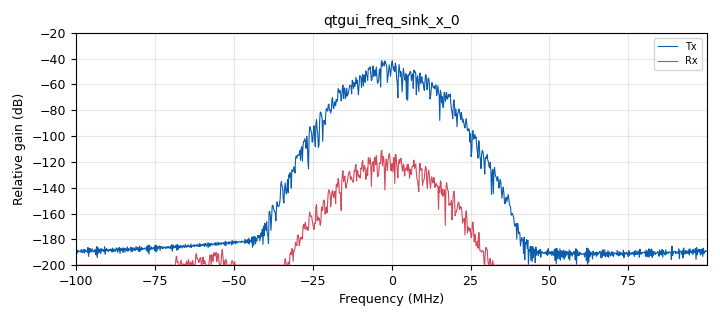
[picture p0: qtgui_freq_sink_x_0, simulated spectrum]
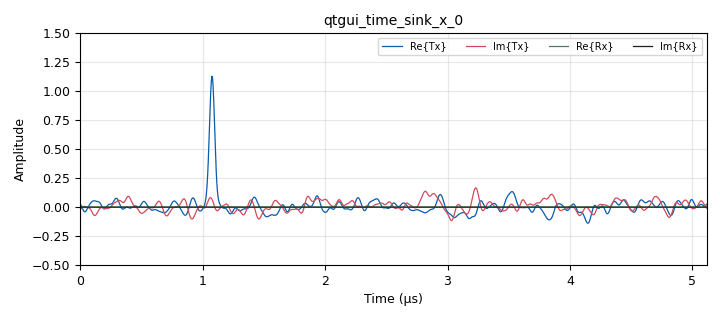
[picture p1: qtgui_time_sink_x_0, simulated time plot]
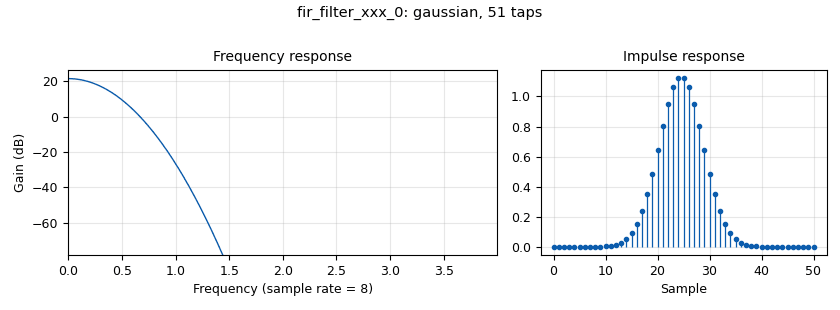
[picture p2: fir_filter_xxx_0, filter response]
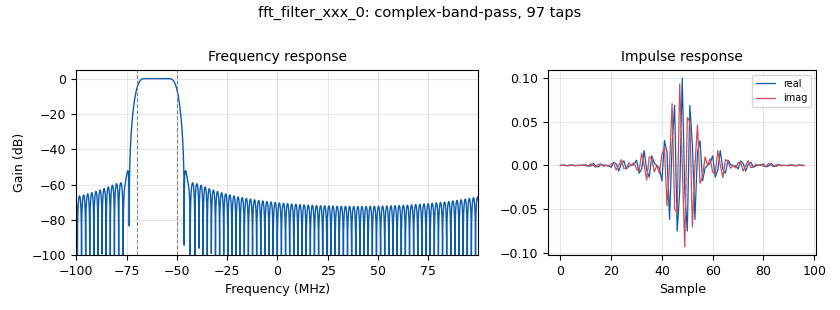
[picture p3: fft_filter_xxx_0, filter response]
<?xml version='1.0' encoding='utf-8'?>
<?grc format='1' created='3.7.7'?>
<flow_graph>
<block>
<key>options</key>
<param><key>id</key><value>impulse_receiver</value></param>
<param><key>generate_options</key><value>qt_gui</value></param>
<param><key>category</key><value>Custom</value></param>
</block>
<block>
<key>variable</key>
<param><key>id</key><value>samp_rate</value></param>
<param><key>value</key><value>200e6</value></param>
</block>
<block>
<key>variable</key>
<param><key>id</key><value>transition</value></param>
<param><key>value</key><value>5e6</value></param>
</block>
<block>
<key>variable</key>
<param><key>id</key><value>ntaps</value></param>
<param><key>value</key><value>len(rx_taps)</value></param>
</block>
<block>
<key>variable</key>
<param><key>id</key><value>rx_taps</value></param>
<param><key>value</key><value>firdes.complex_band_pass(1, samp_rate, center_freq-bandwidth/2.0, center_freq+bandwidth/2.0, transition)</value></param>
</block>
<block>
<key>variable</key>
<param><key>id</key><value>bandwidth</value></param>
<param><key>value</key><value>20e6</value></param>
</block>
<block>
<key>blocks_vector_source_x</key>
<param><key>id</key><value>blocks_vector_source_x_0</value></param>
<param><key>type</key><value>complex</value></param>
<param><key>vector</key><value>511*[0,] + [1,] + 512*[0,]</value></param>
<param><key>repeat</key><value>True</value></param>
</block>
<block>
<key>analog_fastnoise_source_x</key>
<param><key>id</key><value>analog_fastnoise_source_x_0</value></param>
<param><key>type</key><value>complex</value></param>
<param><key>noise_type</key><value>analog.GR_GAUSSIAN</value></param>
<param><key>amp</key><value>0.02</value></param>
<param><key>seed</key><value>0</value></param>
<param><key>samples</key><value>8192</value></param>
</block>
<block>
<key>blocks_add_xx</key>
<param><key>id</key><value>blocks_add_xx_0</value></param>
<param><key>type</key><value>complex</value></param>
</block>
<block>
<key>qtgui_freq_sink_x</key>
<param><key>id</key><value>qtgui_freq_sink_x_0</value></param>
<param><key>type</key><value>complex</value></param>
<param><key>fftsize</key><value>1024</value></param>
<param><key>wintype</key><value>firdes.WIN_BLACKMAN_hARRIS</value></param>
<param><key>fc</key><value>0</value></param>
<param><key>bw</key><value>samp_rate</value></param>
<param><key>ymin</key><value>-200</value></param>
<param><key>ymax</key><value>-20</value></param>
<param><key>nconnections</key><value>2</value></param>
<param><key>update_time</key><value>0.01</value></param>
<param><key>showports</key><value>True</value></param>
<param><key>label1</key><value>Tx</value></param>
<param><key>label2</key><value>Rx</value></param>
</block>
<block>
<key>qtgui_time_sink_x</key>
<param><key>id</key><value>qtgui_time_sink_x_0</value></param>
<param><key>type</key><value>complex</value></param>
<param><key>size</key><value>1024</value></param>
<param><key>srate</key><value>samp_rate</value></param>
<param><key>ymin</key><value>-0.5</value></param>
<param><key>ymax</key><value>1.5</value></param>
<param><key>nconnections</key><value>2</value></param>
<param><key>update_time</key><value>0.01</value></param>
<param><key>tr_delay</key><value>0.0</value></param>
<param><key>label1</key><value>Re{Tx}</value></param>
<param><key>color1</key><value>"blue"</value></param>
<param><key>label2</key><value>Im{Tx}</value></param>
<param><key>color2</key><value>"red"</value></param>
<param><key>label3</key><value>Re{Rx}</value></param>
<param><key>color3</key><value>"green"</value></param>
<param><key>label4</key><value>Im{Rx}</value></param>
<param><key>color4</key><value>"cyan"</value></param>
</block>
<block>
<key>variable_qtgui_range</key>
<param><key>id</key><value>center_freq</value></param>
<param><key>label</key><value>Center Frequency</value></param>
<param><key>value</key><value>-samp_rate/2.0 + 2*bandwidth</value></param>
<param><key>start</key><value>-samp_rate/2.0 + 2*bandwidth</value></param>
<param><key>stop</key><value>samp_rate/2.0 - 2*bandwidth</value></param>
<param><key>step</key><value>samp_rate/100.0</value></param>
<param><key>orient</key><value>Qt.Horizontal</value></param>
</block>
<block>
<key>blocks_throttle</key>
<param><key>id</key><value>blocks_throttle_0</value></param>
<param><key>type</key><value>complex</value></param>
<param><key>samples_per_second</key><value>samp_rate/100.0</value></param>
</block>
<block>
<key>fir_filter_xxx</key>
<param><key>id</key><value>fir_filter_xxx_0</value></param>
<param><key>type</key><value>ccf</value></param>
<param><key>decim</key><value>1</value></param>
<param><key>taps</key><value>firdes.gaussian(12, 8, 0.25, 51)</value></param>
</block>
<block>
<key>fft_filter_xxx</key>
<param><key>id</key><value>fft_filter_xxx_0</value></param>
<param><key>type</key><value>ccc</value></param>
<param><key>decim</key><value>1</value></param>
<param><key>taps</key><value>rx_taps</value></param>
</block>
<connection><source_block_id>blocks_vector_source_x_0</source_block_id><sink_block_id>blocks_add_xx_0</sink_block_id><source_key>0</source_key><sink_key>0</sink_key></connection>
<connection><source_block_id>blocks_add_xx_0</source_block_id><sink_block_id>blocks_throttle_0</sink_block_id><source_key>0</source_key><sink_key>0</sink_key></connection>
<connection><source_block_id>analog_fastnoise_source_x_0</source_block_id><sink_block_id>blocks_add_xx_0</sink_block_id><source_key>0</source_key><sink_key>1</sink_key></connection>
<connection><source_block_id>fft_filter_xxx_0</source_block_id><sink_block_id>qtgui_freq_sink_x_0</sink_block_id><source_key>0</source_key><sink_key>1</sink_key></connection>
<connection><source_block_id>fir_filter_xxx_0</source_block_id><sink_block_id>fft_filter_xxx_0</sink_block_id><source_key>0</source_key><sink_key>0</sink_key></connection>
<connection><source_block_id>fir_filter_xxx_0</source_block_id><sink_block_id>qtgui_time_sink_x_0</sink_block_id><source_key>0</source_key><sink_key>0</sink_key></connection>
<connection><source_block_id>fir_filter_xxx_0</source_block_id><sink_block_id>qtgui_freq_sink_x_0</sink_block_id><source_key>0</source_key><sink_key>0</sink_key></connection>
<connection><source_block_id>fft_filter_xxx_0</source_block_id><sink_block_id>qtgui_time_sink_x_0</sink_block_id><source_key>0</source_key><sink_key>1</sink_key></connection>
<connection><source_block_id>blocks_throttle_0</source_block_id><sink_block_id>fir_filter_xxx_0</sink_block_id><source_key>0</source_key><sink_key>0</sink_key></connection>
</flow_graph>
